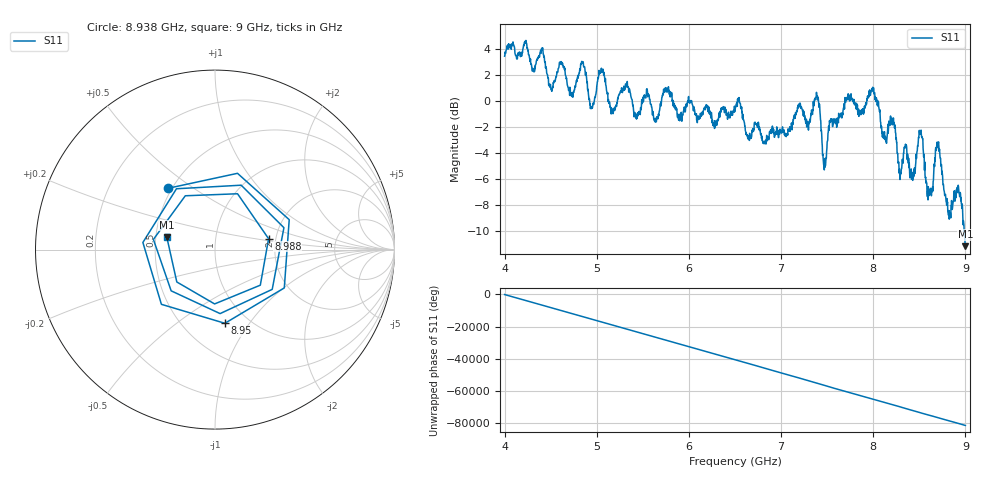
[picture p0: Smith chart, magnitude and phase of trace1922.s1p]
! Created with skrf 1.8.0 (http://scikit-rf.org).
# Hz S RI R 50.0
!freq ReS11 ImS11
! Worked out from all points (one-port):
!   1601 points, 4 GHz to 9 GHz, reference 50 ohm
!   lowest |S11| = -11.1 dB at 9 GHz (marker M1), VSWR 1.77, Z = 28.6 + j4.33 ohm
!   |S11| at or under -10 dB: 8.986458 GHz to 8.990138 GHz (3.679 MHz wide, 0.0409 % of centre); 8.991766 GHz to end of sweep
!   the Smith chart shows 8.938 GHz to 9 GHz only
!   S11 on the Smith chart (normalised r, x): 8.938 GHz: 0.48, +0.40; 8.95 GHz: 0.78, -0.77; 8.988 GHz: 1.83, +0.24; 9 GHz: 0.57, +0.09
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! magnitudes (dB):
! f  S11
! 4 GHz  3.4
! 4.625 GHz  2.8
! 4.728 GHz  0.4
! 4.85 GHz  3.0
! 4.947 GHz  -0.5
! 5.047 GHz  2.3
! 5.169 GHz  -0.6
! 5.25 GHz  0.6
! 5.875 GHz  -1.2
! 6.5 GHz  -0.6
! 6.816 GHz  -3.1
! 7.125 GHz  -1.6
! 7.391 GHz  0.4
! 7.472 GHz  -4.5
! 7.75 GHz  0.4
! 7.997 GHz  1.0
! 8.219 GHz  -1.3
! 8.284 GHz  -5.2
! 8.375 GHz  -4.2
! 8.431 GHz  -5.8
! 8.512 GHz  -2.3
! 8.609 GHz  -7.0
! 8.7 GHz  -3.4
! 8.816 GHz  -8.8
! 8.938 GHz  -7.3
! 8.95 GHz  -7.7
! 8.988 GHz  -10.3
! 9 GHz  -11.1
